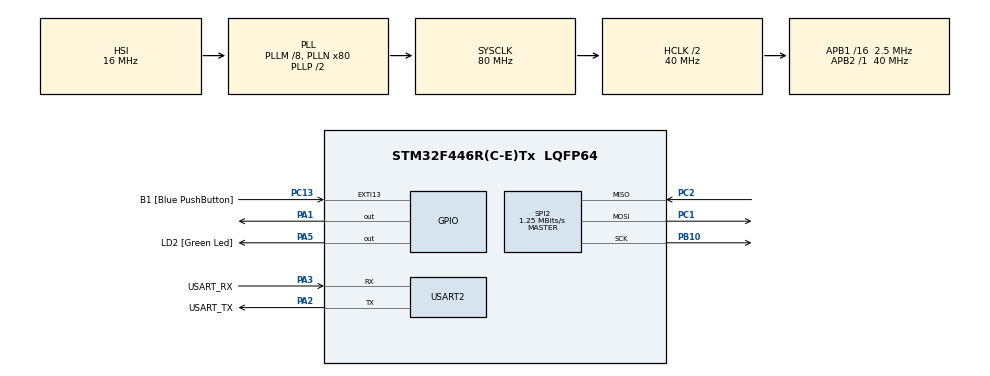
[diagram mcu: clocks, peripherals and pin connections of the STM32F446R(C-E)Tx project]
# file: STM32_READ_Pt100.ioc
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Mcu.Family=STM32F4
Mcu.Name=STM32F446R(C-E)Tx
Mcu.Package=LQFP64
NVIC.PriorityGroup=NVIC_PRIORITYGROUP_0
PA1.PinState=GPIO_PIN_SET
PA1.Signal=GPIO_Output
PA13.GPIO_Label=TMS
PA13.Mode=Serial_Wire
PA13.Signal=SYS_JTMS-SWDIO
PA14.GPIO_Label=TCK
PA14.Mode=Serial_Wire
PA14.Signal=SYS_JTCK-SWCLK
PA2.GPIO_Label=USART_TX
PA2.Mode=Asynchronous
PA2.Signal=USART2_TX
PA3.GPIO_Label=USART_RX
PA3.Mode=Asynchronous
PA3.Signal=USART2_RX
PA5.GPIO_Label=LD2 [Green Led]
PA5.Signal=GPIO_Output
PB10.GPIO_Speed=GPIO_SPEED_FREQ_LOW
PB10.Mode=Full_Duplex_Master
PB10.Signal=SPI2_SCK
PB3.GPIO_Label=SWO
PB3.Signal=SYS_JTDO-SWO
PC1.GPIO_Speed=GPIO_SPEED_FREQ_LOW
PC1.Mode=Full_Duplex_Master
PC1.Signal=SPI2_MOSI
PC13.GPIO_Label=B1 [Blue PushButton]
PC13.GPIO_ModeDefaultEXTI=GPIO_MODE_IT_FALLING
PC13.Signal=GPXTI13
PC14-OSC32_IN.Signal=RCC_OSC32_IN
PC15-OSC32_OUT.Signal=RCC_OSC32_OUT
PC2.GPIO_Speed=GPIO_SPEED_FREQ_LOW
PC2.Mode=Full_Duplex_Master
PC2.Signal=SPI2_MISO
PH0-OSC_IN.Mode=HSE-External-Oscillator
PH0-OSC_IN.Signal=RCC_OSC_IN
PH1-OSC_OUT.Mode=HSE-External-Oscillator
PH1-OSC_OUT.Signal=RCC_OSC_OUT
ProjectManager.HeapSize=0x200
ProjectManager.StackSize=0x400
ProjectManager.TargetToolchain=CMake
RCC.AHBCLKDivider=RCC_SYSCLK_DIV2
RCC.AHBFreq_Value=40000000
RCC.APB1CLKDivider=RCC_HCLK_DIV16
RCC.APB1Freq_Value=2500000
RCC.APB1TimFreq_Value=5000000
RCC.APB2Freq_Value=40000000
RCC.APB2TimFreq_Value=40000000
RCC.CortexFreq_Value=40000000
RCC.FLatency-AdvancedSettings=FLASH_LATENCY_1
RCC.HCLKFreq_Value=40000000
RCC.HSE_VALUE=8000000
RCC.HSI_VALUE=16000000
RCC.LSE_VALUE=32768
RCC.PLLM=8
RCC.PLLN=80
RCC.SYSCLKFreq_VALUE=80000000
RCC.SYSCLKSource=RCC_SYSCLKSOURCE_PLLCLK
RCC.USBFreq_Value=80000000
RCC.VCOOutputFreq_Value=160000000
SPI2.CLKPhase=SPI_PHASE_2EDGE
SPI2.CalculateBaudRate=1.25 MBits/s
SPI2.Direction=SPI_DIRECTION_2LINES
SPI2.Mode=SPI_MODE_MASTER
SPI2.VirtualType=VM_MASTER
USART2.VirtualMode=VM_ASYNC
board=NUCLEO-F446RE

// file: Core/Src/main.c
/* USER CODE BEGIN Header */
/**
  ******************************************************************************
  * @file           : main.c
  * @brief          : Main program body
  ******************************************************************************
  * @attention
  *
  * Copyright (c) 2026 STMicroelectronics.
  * All rights reserved.
  *
  * This software is licensed under terms that can be found in the LICENSE file
  * in the root directory of this software component.
  * If no LICENSE file comes with this software, it is provided AS-IS.
  *
  ******************************************************************************
  */
/* USER CODE END Header */
#include "main.h"

/* USER CODE BEGIN Includes */
#include "stdio.h"
#include <string.h>
/* USER CODE END Includes */

SPI_HandleTypeDef hspi2;

UART_HandleTypeDef huart2;

void SystemClock_Config(void);
static void MX_GPIO_Init(void);
static void MX_SPI2_Init(void);
static void MX_USART2_UART_Init(void);

/* USER CODE BEGIN 0 */
/* UART block */
void print_uart(const char *msg){
  HAL_UART_Transmit(&huart2, (uint8_t *) msg, strlen(msg), HAL_MAX_DELAY);
}

void print_rtd(uint16_t rtd){
  char msg[32];
  snprintf(msg, sizeof(msg), "%u\r\n", rtd);
  print_uart(msg);
}

void print_Temp(float Temp){
  char msg[32];
  snprintf(msg, sizeof(msg), "%.2f °C\r\n", Temp);
  print_uart(msg);
}
/* SPI block - MAX31865 */

// To configure the MAX
/*
  Bias on : D7 = 1,
  Auto    : D6 = 1,
  3-wires : D4 = 1, # but actually, I messed up the MAX31865 --> so D4 = 0 2 wires, but remember to plug for 3 wires as Pt100 are mostly sold in 3 wires version
  50 Hz filter : D0 = 1

  --> command : 0x80 to do write demand --> # fixed so 0xD1, 0xC3 if non fix
*/
void config_max31865(void){
  uint8_t tx[2] = {
    0x80, 0xD1
  };
  // as I use A1 as CS
  HAL_GPIO_WritePin(GPIOA, GPIO_PIN_1, GPIO_PIN_RESET);
  HAL_SPI_Transmit(&hspi2, tx, sizeof(tx), 20);
  // repull CS to HIGH
  HAL_GPIO_WritePin(GPIOA, GPIO_PIN_1, GPIO_PIN_SET);
  HAL_Delay(200);
}

// To read the MAX
/*
  We must keep CS at LOW when read, then point at 0x01, the next bits will sequentially come
  out -> take 16 bits RTD = rx[1] concat rx[2], 15 bits + 1 bit of the fault
*/
uint16_t read_max31865(void){
  uint8_t tx[3] = {
    0x01, 0x00, 0x00
  };
  uint8_t rx[3];
  // Pull CS down
  HAL_GPIO_WritePin(GPIOA, GPIO_PIN_1, GPIO_PIN_RESET);
  HAL_SPI_TransmitReceive(&hspi2, tx, rx, sizeof(rx), 20);
  HAL_GPIO_WritePin(GPIOA, GPIO_PIN_1, GPIO_PIN_SET);
  return (rx[1] << 8 | rx[2]) >> 1;

}

uint8_t max_read_reg(uint8_t addr)
{
    uint8_t tx[2] = { addr, 0x00 };
    uint8_t rx[2];
    HAL_GPIO_WritePin(GPIOA, GPIO_PIN_1, GPIO_PIN_RESET);
    HAL_SPI_TransmitReceive(&hspi2, tx, rx, 2, 20);
    HAL_GPIO_WritePin(GPIOA, GPIO_PIN_1, GPIO_PIN_SET);
    return rx[1];
}
// Module to read RTD to Celcius
float RTD_to_Temp(uint16_t rtd){
  float R = rtd * 430.0f / 32768.0f;
  return (R - 100.0f) / 0.385f;
}
//void print_debug(void)
//{
//    char msg[64];
//    uint8_t r[8];
//    for (int i = 0; i < 8; i++) r[i] = max_read_reg(i);
//    snprintf(msg, sizeof(msg), "%02X %02X %02X %02X %02X %02X %02X %02X\r\n",
//             r[0], r[1], r[2], r[3], r[4], r[5], r[6], r[7]);
//    print_uart(msg);
//}

/* USER CODE END 0 */

int main(void)
{

  /* MCU Configuration--------------------------------------------------------*/

  /* Reset of all peripherals, Initializes the Flash interface and the Systick. */
  HAL_Init();

  /* Configure the system clock */
  SystemClock_Config();

  /* Initialize all configured peripherals */
  MX_GPIO_Init();
  MX_SPI2_Init();
  MX_USART2_UART_Init();
  /* USER CODE BEGIN 2 */
  __HAL_SPI_ENABLE(&hspi2);
  HAL_Delay(1000);
  config_max31865();
  /* USER CODE END 2 */

  /* Infinite loop */
  while (1)
  {

    /* USER CODE BEGIN 3 */
    uint16_t RTD = read_max31865();
    //print_rtd(RTD);
    float T = RTD_to_Temp(RTD);
    print_Temp(T);
    //print_debug();
    HAL_Delay(500);
  }
  /* USER CODE END 3 */
}

void SystemClock_Config(void)
{
  RCC_OscInitTypeDef RCC_OscInitStruct = {0};
  RCC_ClkInitTypeDef RCC_ClkInitStruct = {0};

  /** Configure the main internal regulator output voltage
  */
  __HAL_RCC_PWR_CLK_ENABLE();
  __HAL_PWR_VOLTAGESCALING_CONFIG(PWR_REGULATOR_VOLTAGE_SCALE3);

  /** Initializes the RCC Oscillators according to the specified parameters
  * in the RCC_OscInitTypeDef structure.
  */
  RCC_OscInitStruct.OscillatorType = RCC_OSCILLATORTYPE_HSI;
  RCC_OscInitStruct.HSIState = RCC_HSI_ON;
  RCC_OscInitStruct.HSICalibrationValue = RCC_HSICALIBRATION_DEFAULT;
  RCC_OscInitStruct.PLL.PLLState = RCC_PLL_ON;
  RCC_OscInitStruct.PLL.PLLSource = RCC_PLLSOURCE_HSI;
  RCC_OscInitStruct.PLL.PLLM = 8;
  RCC_OscInitStruct.PLL.PLLN = 80;
  RCC_OscInitStruct.PLL.PLLP = RCC_PLLP_DIV2;
  RCC_OscInitStruct.PLL.PLLQ = 2;
  RCC_OscInitStruct.PLL.PLLR = 2;
  if (HAL_RCC_OscConfig(&RCC_OscInitStruct) != HAL_OK)
  {
    Error_Handler();
  }

  /** Initializes the CPU, AHB and APB buses clocks
  */
  RCC_ClkInitStruct.ClockType = RCC_CLOCKTYPE_HCLK|RCC_CLOCKTYPE_SYSCLK
                              |RCC_CLOCKTYPE_PCLK1|RCC_CLOCKTYPE_PCLK2;
  RCC_ClkInitStruct.SYSCLKSource = RCC_SYSCLKSOURCE_PLLCLK;
  RCC_ClkInitStruct.AHBCLKDivider = RCC_SYSCLK_DIV2;
  RCC_ClkInitStruct.APB1CLKDivider = RCC_HCLK_DIV16;
  RCC_ClkInitStruct.APB2CLKDivider = RCC_HCLK_DIV1;

  if (HAL_RCC_ClockConfig(&RCC_ClkInitStruct, FLASH_LATENCY_1) != HAL_OK)
  {
    Error_Handler();
  }
}

static void MX_SPI2_Init(void)
{

  /* SPI2 parameter configuration*/
  hspi2.Instance = SPI2;
  hspi2.Init.Mode = SPI_MODE_MASTER;
  hspi2.Init.Direction = SPI_DIRECTION_2LINES;
  hspi2.Init.DataSize = SPI_DATASIZE_8BIT;
  hspi2.Init.CLKPolarity = SPI_POLARITY_LOW;
  hspi2.Init.CLKPhase = SPI_PHASE_2EDGE;
  hspi2.Init.NSS = SPI_NSS_SOFT;
  hspi2.Init.BaudRatePrescaler = SPI_BAUDRATEPRESCALER_2;
  hspi2.Init.FirstBit = SPI_FIRSTBIT_MSB;
  hspi2.Init.TIMode = SPI_TIMODE_DISABLE;
  hspi2.Init.CRCCalculation = SPI_CRCCALCULATION_DISABLE;
  hspi2.Init.CRCPolynomial = 10;
  if (HAL_SPI_Init(&hspi2) != HAL_OK)
  {
    Error_Handler();
  }

}

static void MX_USART2_UART_Init(void)
{

  huart2.Instance = USART2;
  huart2.Init.BaudRate = 115200;
  huart2.Init.WordLength = UART_WORDLENGTH_8B;
  huart2.Init.StopBits = UART_STOPBITS_1;
  huart2.Init.Parity = UART_PARITY_NONE;
  huart2.Init.Mode = UART_MODE_TX_RX;
  huart2.Init.HwFlowCtl = UART_HWCONTROL_NONE;
  huart2.Init.OverSampling = UART_OVERSAMPLING_16;
  if (HAL_UART_Init(&huart2) != HAL_OK)
  {
    Error_Handler();
  }

}

static void MX_GPIO_Init(void)
{
  GPIO_InitTypeDef GPIO_InitStruct = {0};

  /* GPIO Ports Clock Enable */
  __HAL_RCC_GPIOC_CLK_ENABLE();
  __HAL_RCC_GPIOH_CLK_ENABLE();
  __HAL_RCC_GPIOA_CLK_ENABLE();
  __HAL_RCC_GPIOB_CLK_ENABLE();

  /*Configure GPIO pin Output Level */
  HAL_GPIO_WritePin(GPIOA, GPIO_PIN_1, GPIO_PIN_SET);

  /*Configure GPIO pin Output Level */
  HAL_GPIO_WritePin(LD2_GPIO_Port, LD2_Pin, GPIO_PIN_RESET);

  /*Configure GPIO pin : B1_Pin */
  GPIO_InitStruct.Pin = B1_Pin;
  GPIO_InitStruct.Mode = GPIO_MODE_IT_FALLING;
  GPIO_InitStruct.Pull = GPIO_NOPULL;
  HAL_GPIO_Init(B1_GPIO_Port, &GPIO_InitStruct);

  /*Configure GPIO pins : PA1 LD2_Pin */
  GPIO_InitStruct.Pin = GPIO_PIN_1|LD2_Pin;
  GPIO_InitStruct.Mode = GPIO_MODE_OUTPUT_PP;
  GPIO_InitStruct.Pull = GPIO_NOPULL;
  GPIO_InitStruct.Speed = GPIO_SPEED_FREQ_LOW;
  HAL_GPIO_Init(GPIOA, &GPIO_InitStruct);

}

void Error_Handler(void)
{
  __disable_irq();
  while (1)
  {
  }
}
